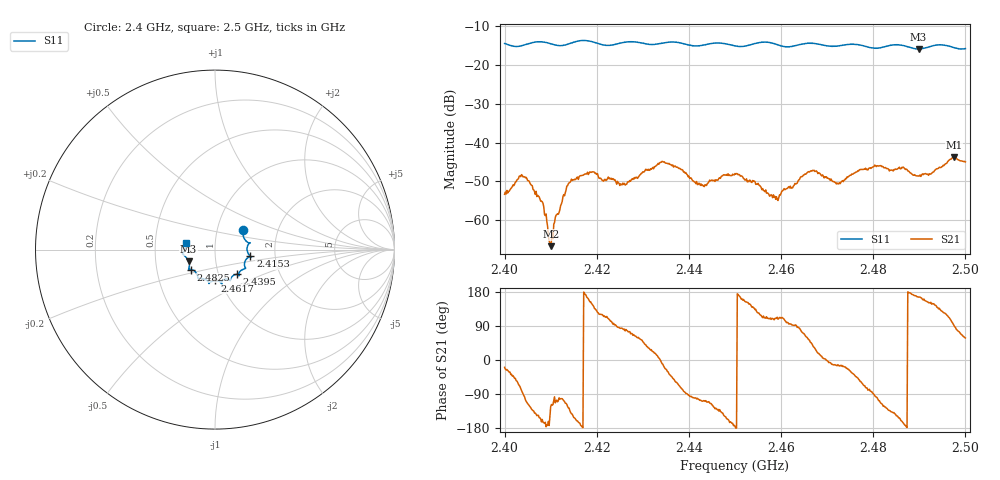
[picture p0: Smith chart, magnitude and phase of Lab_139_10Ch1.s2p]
# Hz S RI R 50
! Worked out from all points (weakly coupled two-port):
!   601 points, 2.4 GHz to 2.5 GHz, reference 50 ohm
!   highest |S21| = -43.85 dB at 2.4975 GHz (marker M1); lowest = -66.8 dB at 2.41 GHz (marker M2)
!   lowest |S11| = -15.9 dB at 2.4898 GHz (marker M3), VSWR 1.38, Z = 36.9 - j4.93 ohm
!   |S11| at or under -10 dB: start of sweep to end of sweep
!   S12 and S22 are empty: the file has one direction only
!   S11 on the Smith chart (normalised r, x): 2.4 GHz: 1.33, +0.30; 2.4153 GHz: 1.48, -0.11; 2.4395 GHz: 1.22, -0.35; 2.4617 GHz: 0.94, -0.33; 2.4825 GHz: 0.75, -0.17; 2.5 GHz: 0.72, +0.05
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2.4e9  0.1562 0.1087  0.00202 -0.000711  0 0  0 0
2.403333e9  0.1667 0.0554  0.00126 -0.00348  0 0  0 0
2.404833e9  0.1817 0.0404  -0.00127 -0.00318  0 0  0 0
2.408e9  0.1962 0.0386  -0.00167 -0.000501  0 0  0 0
2.41e9  0.1864 0.0296  -0.00025 -0.000383  0 0  0 0
2.413167e9  0.1813 -0.0134  -0.000902 -0.00204  0 0  0 0
2.415333e9  0.1968 -0.037  -0.003 -0.00141  0 0  0 0
2.416667e9  0.2034 -0.0414  -0.00371 -0.000383  0 0  0 0
2.426e9  0.1691 -0.1009  0.000443 0.00293  0 0  0 0
2.433333e9  0.1328 -0.1332  0.00534 0.000677  0 0  0 0
2.4395e9  0.1228 -0.1379  0.000105 -0.0039  0 0  0 0
2.443333e9  0.0892 -0.1587  -0.000809 -0.00257  0 0  0 0
2.45e9  0.0665 -0.1641  -0.00396 -0.00036  0 0  0 0
2.459e9  0.0321 -0.1823  -0.000677 0.00188  0 0  0 0
2.461667e9  0.000699 -0.1721  -0.000229 0.00268  0 0  0 0
2.466667e9  -0.0339 -0.1886  0.00312 0.00292  0 0  0 0
2.472333e9  -0.0713 -0.1611  0.00286 -0.000626  0 0  0 0
2.4825e9  -0.1321 -0.1112  -0.00262 -0.00392  0 0  0 0
2.483333e9  -0.1394 -0.1105  -0.00306 -0.00333  0 0  0 0
2.489833e9  -0.1474 -0.0651  -0.00358 0.000897  0 0  0 0
2.4975e9  -0.1683 -0.00463  -0.000207 0.00642  0 0  0 0
2.5e9  -0.1598 0.0347  0.00297 0.00476  0 0  0 0
